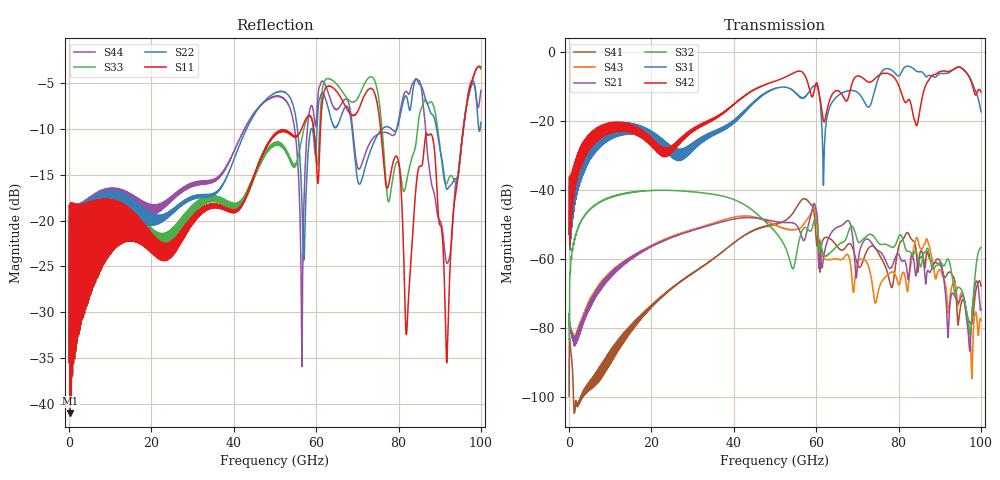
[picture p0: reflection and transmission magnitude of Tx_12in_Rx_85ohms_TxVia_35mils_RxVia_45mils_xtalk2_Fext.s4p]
! Info: Touchstone file created by Circ.  Input file=Tx_12in_Rx_85ohms_TxVia_35mils_RxVia_45mils.circ
# Hz S RI R 50
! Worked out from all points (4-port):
!   10000 points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, 10 MHz to 100 GHz, reference 50 ohm
!   strongest paths, dB at 10 MHz, 25.01 GHz, 50.01 GHz, 75.01 GHz, 100 GHz:
!     S42: -53.0, -27.2, -8.5, -7.0, -11.7
!     S31: -53.0, -28.1, -10.7, -8.0, -17.3
!     S32: -79.4, -40.2, -52.1, -55.3, -56.8
!     S21: -77.1, -53.9, -49.2, -57.6, -74.5
!     S43: -77.1, -53.6, -50.1, -69.8, -77.7
!     S41: -99.8, -68.6, -50.0, -58.1, -67.9
!   lowest |S11| = -41.1 dB at 260 MHz (marker M1), VSWR 1.02, Z = 49.2 + j0.424 ohm
!   |S11| at or under -10 dB: start of sweep to 56.41 GHz; 59.41 GHz to 61.04 GHz (1.631 GHz wide, 2.71 % of centre); 75.66 GHz to 95.73 GHz (20.07 GHz wide, 23.4 % of centre)
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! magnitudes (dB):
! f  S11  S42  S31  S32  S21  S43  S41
! 10 MHz  -35.5  -53.0  -53.0  -79.4  -77.1  -77.1  -99.8
! 260 MHz  -41.1  -46.4  -46.4  -64.1  -80.1  -80.0  -85.0
! 12.13 GHz  -18.0  -20.6  -20.7  -41.6  -62.5  -62.2  -83.4
! 59.3 GHz  -9.7  -12.5  -9.9  -49.9  -44.5  -45.3  -45.2
! 91.75 GHz  -35.4  -5.7  -6.3  -60.3  -76.5  -71.4  -64.6
! 97.32 GHz  -5.5  -7.7  -7.5  -81.4  -86.7  -82.0  -78.4
! 100 GHz  -3.3  -11.7  -17.3  -56.8  -74.5  -77.7  -67.9
